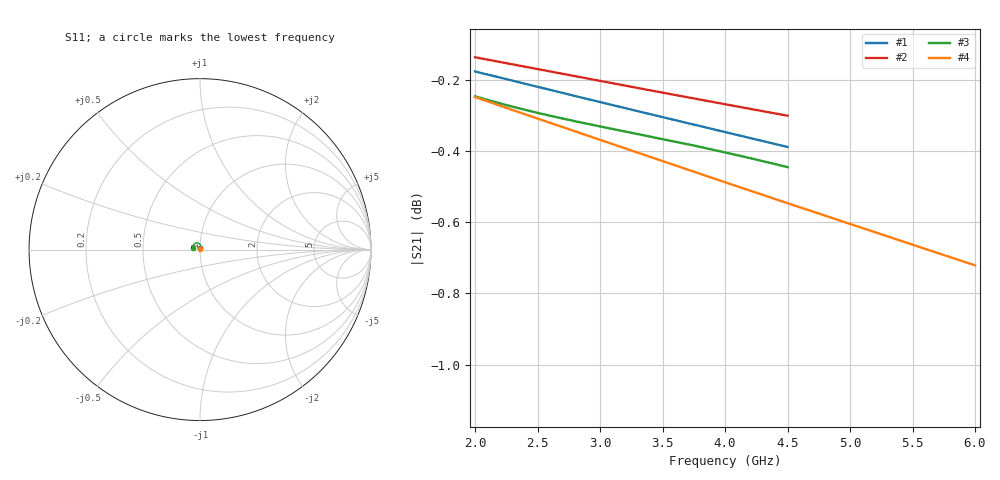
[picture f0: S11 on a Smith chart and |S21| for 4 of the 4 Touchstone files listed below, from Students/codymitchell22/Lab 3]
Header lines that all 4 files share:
! Variables:
!Data is not renormalized
# GHZ S MA
! Modal data exported
Fixed: $thru = 40mm, width = 3.01746mm
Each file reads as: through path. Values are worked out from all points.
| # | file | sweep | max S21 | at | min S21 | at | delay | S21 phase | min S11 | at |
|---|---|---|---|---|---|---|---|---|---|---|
| 1 | Lab3_line.s2p | 2 GHz to 4.5 GHz | -0.18 dB | 2 GHz | -0.4 dB | 4.5 GHz | 171 ps | 159 deg at 3.25 GHz | -71.9 dB | 2.913 GHz |
| 2 | Lab3_thru.s2p | 2 GHz to 4.5 GHz | -0.14 dB | 2 GHz | -0.3 dB | 4.5 GHz | 132 ps | -155 deg at 3.25 GHz | -71.9 dB | 3.771 GHz |
| 3 | Lab 3_L hfss.s2p | 2 GHz to 4.5 GHz | -0.25 dB | 2 GHz | -0.4 dB | 4.5 GHz | 180 ps | 153 deg at 3.25 GHz | -38.5 dB | 4.5 GHz |
| 4 | TRL Mitchell_T1.s2p | 2 GHz to 6 GHz | -0.25 dB | 2 GHz | -0.7 dB | 6 GHz | 240 ps | 13 deg at 4 GHz | -71.3 dB | 2.062 GHz |
